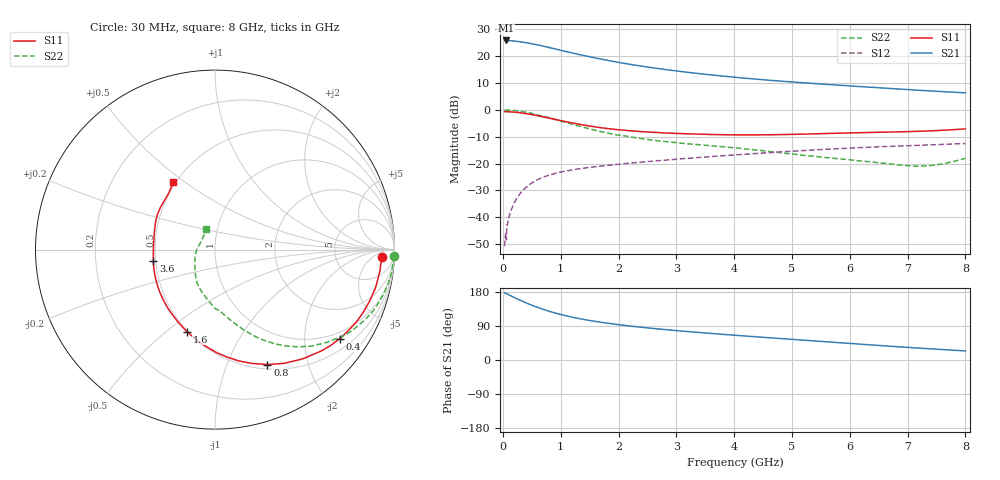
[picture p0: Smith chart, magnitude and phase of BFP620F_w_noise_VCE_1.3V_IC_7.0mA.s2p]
! Infineon Technologies  Discrete & RF Semiconductors
! BFP620F
! VCE =  1.3 V,  IC =  7.0 mA
! Common Emitter S-Parameters:  Dec 2014
# GHz  S  MA  R  50
!  f  S11  S21  S12  S22
! GHz  MAG  ANG  MAG  ANG  MAG  ANG  MAG  ANG
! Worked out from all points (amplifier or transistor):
!   95 points, 30 MHz to 8 GHz, reference 50 ohm
!   highest |S21| = 25.9 dB at 50 MHz (marker M1)
!   |S21| within 3 dB of that: start of sweep to 874.8 MHz
!   unconditionally stable (mu >= 1): 4.605 GHz to end of sweep
!   at 300 MHz: K = 0.10, MSG = 28.3 dB, |S12| = -31.1 dB
!   at 3.3 GHz: K = 0.90, MSG = 15.8 dB, |S12| = -17.9 dB
!   at 8 GHz: K = 1.10, MAG = 7.5 dB, |S12| = -12.5 dB
!   lowest NFmin = 0.55 dB at 450 MHz
!   S11 on the Smith chart (normalised r, x): 30 MHz: 19, -13; 400 MHz: 0.80, -2.93; 800 MHz: 0.55, -1.41; 1.6 GHz: 0.50, -0.59; 3.6 GHz: 0.49, -0.07; 8 GHz: 0.48, +0.45
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0.03  0.9297 -2.7  19.64 177.4  0.0029 93.3  0.9954 -2.1
0.05  0.9283 -4.6  19.68 175.9  0.0049 87.1  0.9961 -3.6
0.06  0.9263 -5.5  19.66 175.3  0.0038 71.2  0.9932 -4.2
0.07  0.9272 -6.5  19.65 174.4  0.0073 86.2  0.9936 -5.0
0.15  0.9183 -13.7  19.44 168.4  0.0142 83.1  0.9839 -10.8
0.25  0.8975 -22.6  18.92 161.0  0.0236 78.9  0.9601 -17.8
0.4  0.854 -35.5  17.91 150.8  0.0362 72.1  0.9042 -27.8
0.45  0.8374 -39.5  17.49 147.6  0.0399 70.1  0.8856 -30.9
0.6  0.7797 -51.4  16.27 138.7  0.0502 64.3  0.8113 -39.5
0.8  0.7038 -65.5  14.54 128.6  0.0612 58.3  0.7139 -49.4
0.9  0.6664 -72.1  13.73 124.1  0.0654 56.0  0.6661 -53.7
1.1  0.6013 -83.8  12.18 116.4  0.0731 52.1  0.5794 -61.2
1.4  0.5238 -99.6  10.31 107.0  0.0823 48.4  0.474 -70.4
1.6  0.4829 -109.0  9.291 101.8  0.0875 46.8  0.418 -76.0
1.8  0.4515 -117.5  8.432 97.3  0.0925 45.7  0.3732 -81.2
2.1  0.4181 -129.1  7.37 91.4  0.0999 44.1  0.3295 -89.6
2.7  0.3778 -148.0  5.869 81.8  0.1137 42.2  0.2651 -102.2
3.6  0.3488 -169.7  4.494 70.1  0.135 39.5  0.2152 -116.8
4.1  0.343 -179.6  3.983 64.3  0.1472 37.8  0.1923 -123.3
5.4  0.3588 158.5  3.096 50.1  0.1802 32.1  0.1363 -145.8
6.7  0.3873 139.6  2.509 36.4  0.2095 24.8  0.0983 175.9
8  0.4441 121.8  2.081 23.9  0.2367 17.6  0.1255 112.6
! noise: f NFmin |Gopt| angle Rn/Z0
0.45  0.55  0.38  9  0.25
0.9  0.61  0.35  19  0.22
1.5  0.68  0.32  24  0.19
1.8  0.71  0.3  27  0.18
1.9  0.72  0.25  40  0.19
2.4  0.77  0.22  56  0.17
3.5  0.88  0.21  75  0.14
5.5  1.08  0.14  162  0.12
6  1.12  0.11  185  0.21
